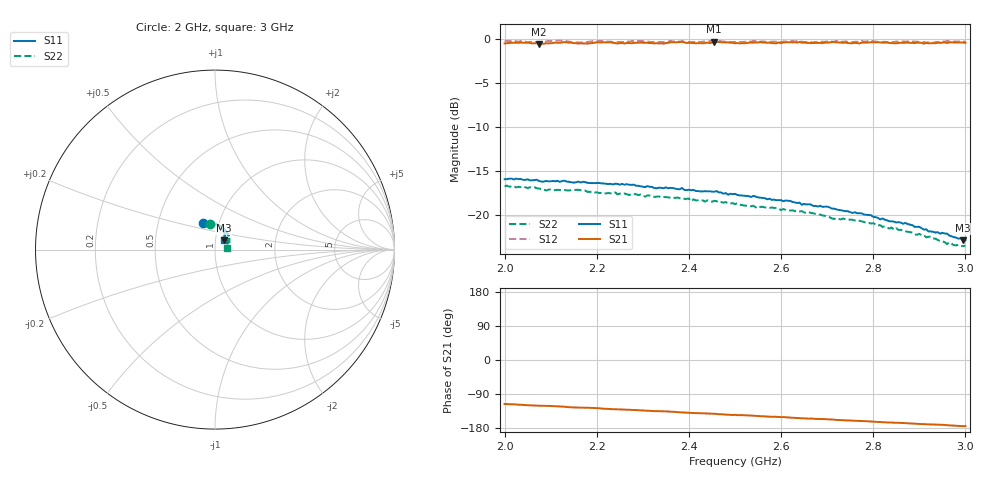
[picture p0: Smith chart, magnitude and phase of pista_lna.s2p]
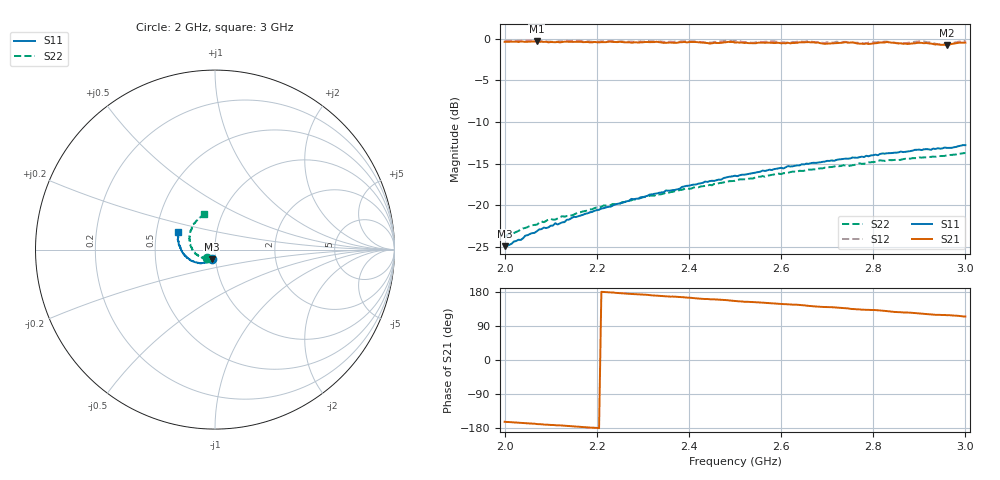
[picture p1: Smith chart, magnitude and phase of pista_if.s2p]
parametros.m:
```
close all; clear all;

%%
pista_lna = sparameters('pista_lna.s2p');
figure;
rfplot(pista_lna,1,1)
hold on;
rfplot(pista_lna,2,1)
title('Parametros S de pista corta')
saveas(gcf,'parametros_pista_corta','fig');
saveas(gcf,'parametros_pista_corta','png');
figure;
smithplot(pista_lna,1,1)
hold on;
smithplot(pista_lna,2,2)
title('Parametros S de pista corta')
saveas(gcf,'smith_pista_corta','fig');
saveas(gcf,'smith_pista_corta','png');

%%
pista_if = sparameters('pista_if.s2p');
figure;
rfplot(pista_if,1,1)
hold on;
rfplot(pista_if,2,1)
title('Parametros S de pista larga')
saveas(gcf,'parametros_pista_larga','fig');
saveas(gcf,'parametros_pista_larga','png');
figure;
hold on;
smithplot(pista_if,1,1)
hold on;
smithplot(pista_if,2,2)
title('Parametros S de pista larga')
saveas(gcf,'smith_pista_larga','fig');
saveas(gcf,'smith_pista_larga','png');

%%
pa_solo = sparameters('pa_solo.s2p');
figure;
rfplot(pa_solo)
title('Parametros S de PA')
saveas(gcf,'parametros_pa_solo','fig');
saveas(gcf,'parametros_pa_solo','png');
figure;
hold on;
smithplot(pa_solo,1,1)
hold on;
smithplot(pa_solo,2,2)
title('Parametros S de PA')
saveas(gcf,'smith_pa_solo','fig');
saveas(gcf,'smith_pa_solo','png');

%%
cp_thru = sparameters('cp_thru.s2p');
figure;
rfplot(cp_thru)
title('Parametros S de salida directa del acoplador')
saveas(gcf,'parametros_cp_thru','fig');
saveas(gcf,'parametros_cp_thru','png');
figure;
smithplot(cp_thru,1,1)
hold on;
smithplot(cp_thru,2,2)
title('Parametros S de salida directa del acoplador')
saveas(gcf,'smith_cp_thru','fig');
saveas(gcf,'smith_cp_thru','png');

%%
cp_cp = sparameters('cp_cp.s2p');
figure;
rfplot(cp_cp)
title('Parametros S de salida acoplada del acoplador')
saveas(gcf,'parametros_cp_cp','fig');
saveas(gcf,'parametros_cp_cp','png');
figure;
hold on;
smithplot(cp_cp,1,1)
hold on;
smithplot(cp_cp,2,2)
title('Parametros S de salida acoplada del acoplador')
saveas(gcf,'smith_cp_cp','fig');
saveas(gcf,'smith_cp_cp','png');
```
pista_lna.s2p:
!Agilent Technologies,E8364A,US41440144,A.06.04.32
!Agilent E8364A: A.06.04.32
!Date: Monday, February 05, 2018 12:07:58
!Correction: S11(Full 2 Port(1,2)) S21(Full 2 Port(1,2)) S12(Full 2 Port(1,2)) S22(Full 2 Port(1,2))
!S2P File: Measurements: S11, S21, S12, S22:
# Hz S  dB  R 50
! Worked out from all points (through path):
!   201 points, 2 GHz to 3 GHz, reference 50 ohm
!   highest |S21| = -0.29 dB at 2.455 GHz (marker M1); lowest = -0.5 dB at 2.075 GHz (marker M2)
!   group delay of S21, straight-line fit = 163 ps
!   lowest |S11| = -22.9 dB at 2.995 GHz (marker M3), VSWR 1.15, Z = 54.9 + j5.71 ohm
!   |S11| at or under -10 dB: start of sweep to end of sweep
!   |S22| runs from -23.6 to -16.7 dB; largest |S21 - S12| = 0.031
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2e9  -15.95 113.7  -0.47 -116.1  -0.25 -115.7  -16.75 100.3
2.075e9  -16.16 108.3  -0.53 -120.7  -0.35 -119.8  -17.01 91.5
2.13e9  -16.12 104.1  -0.32 -123.3  -0.16 -124.0  -17.19 87.1
2.365e9  -16.95 87.0  -0.34 -136.5  -0.24 -137.0  -18.03 66.8
2.415e9  -17.29 82.9  -0.46 -140.2  -0.37 -139.6  -18.36 62.9
2.455e9  -17.37 80.1  -0.29 -141.9  -0.15 -142.5  -18.40 58.1
2.5e9  -17.61 77.0  -0.46 -144.8  -0.34 -145.1  -18.79 54.2
2.715e9  -19.29 61.1  -0.32 -157.6  -0.28 -157.2  -20.47 35.0
2.8e9  -20.23 56.0  -0.34 -162.7  -0.20 -162.5  -20.96 26.5
2.995e9  -22.90 46.2  -0.37 -174.6  -0.27 -174.5  -23.57 6.8
3e9  -22.89 47.0  -0.41 -174.3  -0.27 -174.5  -23.51 6.6
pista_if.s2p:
!Agilent Technologies,E8364A,US41440144,A.06.04.32
!Agilent E8364A: A.06.04.32
!Date: Monday, February 05, 2018 12:08:47
!Correction: S11(Full 2 Port(1,2)) S21(Full 2 Port(1,2)) S12(Full 2 Port(1,2)) S22(Full 2 Port(1,2))
!S2P File: Measurements: S11, S21, S12, S22:
# Hz S  dB  R 50
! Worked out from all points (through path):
!   201 points, 2 GHz to 3 GHz, reference 50 ohm
!   highest |S21| = -0.31 dB at 2.07 GHz (marker M1); lowest = -0.7 dB at 2.96 GHz (marker M2)
!   group delay of S21, straight-line fit = 228 ps
!   lowest |S11| = -24.9 dB at 2 GHz (marker M3), VSWR 1.12, Z = 47.9 - j5.12 ohm
!   |S11| at or under -10 dB: start of sweep to end of sweep
!   |S22| runs from -23.8 to -13.7 dB; largest |S21 - S12| = 0.032
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2e9  -24.93 -109.7  -0.36 -163.0  -0.24 -162.7  -23.84 -135.6
2.07e9  -23.14 -114.6  -0.31 -169.1  -0.28 -169.0  -22.35 -144.0
2.31e9  -18.88 -138.2  -0.38 171.9  -0.24 172.4  -18.96 -169.4
2.465e9  -16.92 -153.5  -0.50 159.2  -0.31 160.2  -17.36 172.6
2.5e9  -16.46 -157.8  -0.45 155.8  -0.24 155.8  -17.07 168.0
2.64e9  -15.22 -170.4  -0.42 145.2  -0.36 145.2  -15.86 151.9
2.755e9  -14.27 177.0  -0.43 134.5  -0.42 135.0  -15.18 138.0
2.91e9  -13.28 162.6  -0.53 121.8  -0.30 122.3  -14.25 119.2
2.935e9  -13.24 160.5  -0.68 119.2  -0.58 119.3  -14.19 116.2
2.96e9  -13.12 158.0  -0.72 118.2  -0.64 119.0  -14.00 112.9
3e9  -12.79 154.4  -0.45 114.7  -0.24 114.9  -13.73 107.6
